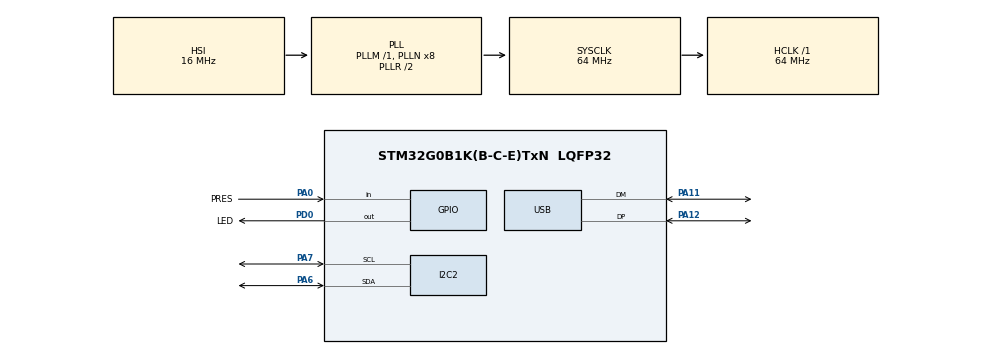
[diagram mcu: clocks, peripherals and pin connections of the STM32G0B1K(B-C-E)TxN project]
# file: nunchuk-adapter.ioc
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I2C2.Timing=0x10707DBC
Mcu.Family=STM32G0
Mcu.Name=STM32G0B1K(B-C-E)TxN
Mcu.Package=LQFP32
NVIC.USB_UCPD1_2_IRQn=true\:0\:0\:false\:false\:true\:true\:true
PA0.GPIO_Label=PRES
PA0.Signal=GPIO_Input
PA11\ [PA9].Mode=Device
PA11\ [PA9].Signal=USB_DM
PA12\ [PA10].Mode=Device
PA12\ [PA10].Signal=USB_DP
PA13.Mode=Serial_Wire
PA13.Signal=SYS_SWDIO
PA14-BOOT0.Mode=Serial_Wire
PA14-BOOT0.Signal=SYS_SWCLK
PA6.Mode=I2C
PA6.Signal=I2C2_SDA
PA7.Mode=I2C
PA7.Signal=I2C2_SCL
PD0.GPIO_Label=LED
PD0.Signal=GPIO_Output
ProjectManager.HeapSize=0x4000
ProjectManager.StackSize=0x2000
ProjectManager.TargetToolchain=Makefile
RCC.ADCFreq_Value=64000000
RCC.AHBFreq_Value=64000000
RCC.CortexFreq_Value=64000000
RCC.EXTERNAL_CLOCK_VALUE=48000
RCC.HCLKFreq_Value=64000000
RCC.HSE_VALUE=8000000
RCC.HSI48_VALUE=48000000
RCC.HSI_VALUE=16000000
RCC.LSE_VALUE=32768
RCC.SYSCLKFreq_VALUE=64000000
RCC.SYSCLKSource=RCC_SYSCLKSOURCE_PLLCLK
RCC.USBFreq_Value=48000000
RCC.VCOOutputFreq_Value=128000000
USB_DEVICE.CLASS_NAME_FS=HID
USB_DEVICE.MANUFACTURER_STRING=Ben Thacher hehe
USB_DEVICE.PRODUCT_STRING_HID_FS=Nunchuk <-> USB Adapter
USB_DEVICE.USBD_LPM_ENABLED=1
USB_DEVICE.USBD_SELF_POWERED=1
USB_DEVICE.VirtualMode=Hid
USB_DEVICE.VirtualModeFS=Hid_FS
VP_SYS_VS_DBSignals.Mode=DisableDeadBatterySignals
VP_USB_DEVICE_VS_USB_DEVICE_HID_FS.Mode=HID_FS
board=custom

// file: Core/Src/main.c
/* USER CODE BEGIN Header */
/**
  ******************************************************************************
  * @file           : main.c
  * @brief          : Main program body
  ******************************************************************************
  * @attention
  *
  * <h2><center>&copy; Copyright (c) 2022 STMicroelectronics.
  * All rights reserved.</center></h2>
  *
  * This software component is licensed by ST under Ultimate Liberty license
  * SLA0044, the "License"; You may not use this file except in compliance with
  * the License. You may obtain a copy of the License at:
  *                             www.st.com/SLA0044
  *
  ******************************************************************************
  */
/* USER CODE END Header */
#include "main.h"
#include "i2c.h"
#include "usb_device.h"
#include "gpio.h"

/* USER CODE BEGIN Includes */
#include "nunchuk.h"
#include "usbd_hid.h"
/* USER CODE END Includes */

/* USER CODE BEGIN PTD */

typedef enum _DeviceState {
  WAITING,
  PRESENCE_DETECTED,
  CONNECTED
} DeviceState;

/* USER CODE END PTD */

/* USER CODE BEGIN PV */

DeviceState dev_state;
nunchuk_device_type_t nunchuk_type;
int inits_failed;
USBD_HandleTypeDef hUsbDeviceFS;
gamepad_report_t hid_report;

#define MAX_INIT_FAILS 5

/* USER CODE END PV */

void SystemClock_Config(void);
/* USER CODE BEGIN PFP */
void indicate_nunchuk_type(nunchuk_device_type_t type);
/* USER CODE END PFP */

/* USER CODE BEGIN 0 */
void clear_hid_report() {
  memset(&hid_report, 0, sizeof(hid_report));
  hid_report.report_id = REPORT_ID;
}

void disconnect_nunchuk() {
  dev_state = WAITING;
  nunchuk_type = UNKNOWN;
  clear_hid_report();
  USBD_HID_SendReport(&hUsbDeviceFS, (uint8_t *) &hid_report, sizeof(hid_report));
}
/* USER CODE END 0 */

int main(void)
{
  /* USER CODE BEGIN 1 */
  disconnect_nunchuk();
  inits_failed = 0;

  /* USER CODE END 1 */

  /* MCU Configuration--------------------------------------------------------*/

  /* Reset of all peripherals, Initializes the Flash interface and the Systick. */
  HAL_Init();

  /* Configure the system clock */
  SystemClock_Config();

  /* Initialize all configured peripherals */
  MX_GPIO_Init();
  MX_I2C2_Init();
  MX_USB_Device_Init();

  /* Infinite loop */
  /* USER CODE BEGIN WHILE */

  while (1)
  {
    switch (dev_state) {
      case WAITING: {
        write_led(0);
        if (read_pres_pin()) {
          dev_state = PRESENCE_DETECTED;
        }
      }
      break;
      case PRESENCE_DETECTED: {
        // debounce
        blink_led(1, 50);
        HAL_Delay(50);
        blink_led(1, 50);

        if (read_pres_pin()) {
          // we still have something connected so try and initialize it
          HAL_StatusTypeDef status = nunchuk_init(&nunchuk_type); // try to initialize the nunchuk

          if (status == HAL_OK) {
            indicate_nunchuk_type(nunchuk_type);
            dev_state = CONNECTED;
          } else {
            // if the initialization fails, increment a counter
            inits_failed++;
          }

          if (inits_failed > MAX_INIT_FAILS) {
            hi2c2.Instance->CR1 |= I2C_CR1_SWRST; // reset i2c peripheral
            inits_failed = 0;
            NVIC_SystemReset();
          }
        } else {
          // nothing is connected, it was a fluke or something
          dev_state = WAITING;
        }
      }
      break;
      case CONNECTED: {
        write_led(1);

        // if we're connected but the presence pin goes low then we disconnected
        if (!read_pres_pin()) {
          disconnect_nunchuk();
        }

        switch (nunchuk_type) {
          case STANDARD: {
            nunchuk_standard_t report;
            HAL_StatusTypeDef status = nunchuk_read_standard(&report);

            if (status != HAL_OK) {
              // force disconnect the nunchuk on failure
              disconnect_nunchuk();
            }

            // standard report -> usb hid gamepad report
            hid_report.x = report.sx - 128;
            hid_report.y = report.sy - 128;
            hid_report.rx = (report.ax >> 2) - 128;
            hid_report.ry = (report.ay >> 2) - 128;
            hid_report.rz = (report.az >> 2) - 128;
            hid_report.buttons = *(uint16_t *) &report.buttons;
          }
          break;
          case CLASSIC: {
            nunchuk_classic_t report;
            HAL_StatusTypeDef status = nunchuk_read_classic(&report);

            if (status != HAL_OK) {
              // force disconnect the nunchuk on failure
              disconnect_nunchuk();
            }

            // classic report -> usb hid gamepad report
          }
          break;
          case GUITAR_HERO: {
            nunchuk_guitar_hero_t report;
            HAL_StatusTypeDef status = nunchuk_read_guitar_hero(&report);

            if (status != HAL_OK) {
              // force disconnect the nunchuk on failure
              disconnect_nunchuk();
            }

            // guitar hero report -> usb hid gamepad report
            hid_report.x = (report.sx - 32) << 2;
            hid_report.y = (report.sy - 32) << 2;
            hid_report.z = (int8_t) (((report.wb - 16) / 9.0) * 127);
            hid_report.rx = (report.tb - 16) << 3;
            hid_report.buttons = *(uint16_t *) &report.buttons;
          }
          break;
          case UNKNOWN:
            // if we're here, we can talk to the nunchuk but we don't know
            // the id, so just stay connected but clear out the report
            clear_hid_report();
            break;
          default:
            disconnect_nunchuk();
            break;
        }

        // usb hid send report
        USBD_HID_SendReport(&hUsbDeviceFS, (uint8_t *) &hid_report, sizeof(hid_report));
      }
      break;
    }

    HAL_Delay(10);
    handle_blink_requests();
    /* USER CODE END WHILE */

  }
}

void SystemClock_Config(void)
{
  RCC_OscInitTypeDef RCC_OscInitStruct = {0};
  RCC_ClkInitTypeDef RCC_ClkInitStruct = {0};
  RCC_PeriphCLKInitTypeDef PeriphClkInit = {0};

  /** Configure the main internal regulator output voltage
  */
  HAL_PWREx_ControlVoltageScaling(PWR_REGULATOR_VOLTAGE_SCALE1);
  /** Initializes the RCC Oscillators according to the specified parameters
  * in the RCC_OscInitTypeDef structure.
  */
  RCC_OscInitStruct.OscillatorType = RCC_OSCILLATORTYPE_HSI|RCC_OSCILLATORTYPE_HSI48;
  RCC_OscInitStruct.HSIState = RCC_HSI_ON;
  RCC_OscInitStruct.HSI48State = RCC_HSI48_ON;
  RCC_OscInitStruct.HSIDiv = RCC_HSI_DIV1;
  RCC_OscInitStruct.HSICalibrationValue = RCC_HSICALIBRATION_DEFAULT;
  RCC_OscInitStruct.PLL.PLLState = RCC_PLL_ON;
  RCC_OscInitStruct.PLL.PLLSource = RCC_PLLSOURCE_HSI;
  RCC_OscInitStruct.PLL.PLLM = RCC_PLLM_DIV1;
  RCC_OscInitStruct.PLL.PLLN = 8;
  RCC_OscInitStruct.PLL.PLLP = RCC_PLLP_DIV2;
  RCC_OscInitStruct.PLL.PLLQ = RCC_PLLQ_DIV2;
  RCC_OscInitStruct.PLL.PLLR = RCC_PLLR_DIV2;
  if (HAL_RCC_OscConfig(&RCC_OscInitStruct) != HAL_OK)
  {
    Error_Handler();
  }
  /** Initializes the CPU, AHB and APB buses clocks
  */
  RCC_ClkInitStruct.ClockType = RCC_CLOCKTYPE_HCLK|RCC_CLOCKTYPE_SYSCLK
                              |RCC_CLOCKTYPE_PCLK1;
  RCC_ClkInitStruct.SYSCLKSource = RCC_SYSCLKSOURCE_PLLCLK;
  RCC_ClkInitStruct.AHBCLKDivider = RCC_SYSCLK_DIV1;
  RCC_ClkInitStruct.APB1CLKDivider = RCC_HCLK_DIV1;

  if (HAL_RCC_ClockConfig(&RCC_ClkInitStruct, FLASH_LATENCY_2) != HAL_OK)
  {
    Error_Handler();
  }
  /** Initializes the peripherals clocks
  */
  PeriphClkInit.PeriphClockSelection = RCC_PERIPHCLK_I2C2|RCC_PERIPHCLK_USB;
  PeriphClkInit.I2c2ClockSelection = RCC_I2C2CLKSOURCE_PCLK1;
  PeriphClkInit.UsbClockSelection = RCC_USBCLKSOURCE_HSI48;
  if (HAL_RCCEx_PeriphCLKConfig(&PeriphClkInit) != HAL_OK)
  {
    Error_Handler();
  }
}

/* USER CODE BEGIN 4 */
void indicate_nunchuk_type(nunchuk_device_type_t type) {
  const int blink_freq = 10;

  switch (type) {
    case STANDARD:
      blink_led(1, blink_freq);
      break;
    case CLASSIC:
      blink_led(2, blink_freq);
      break;
    case GUITAR_HERO:
      blink_led(3, blink_freq);
      break;
    case UNKNOWN:
    default:
      blink_led(10, blink_freq);
      break;
  }
}
/* USER CODE END 4 */

void Error_Handler(void)
{
  __disable_irq();
  while (1)
  {
  }
}

/************************ (C) COPYRIGHT STMicroelectronics *****END OF FILE****/
